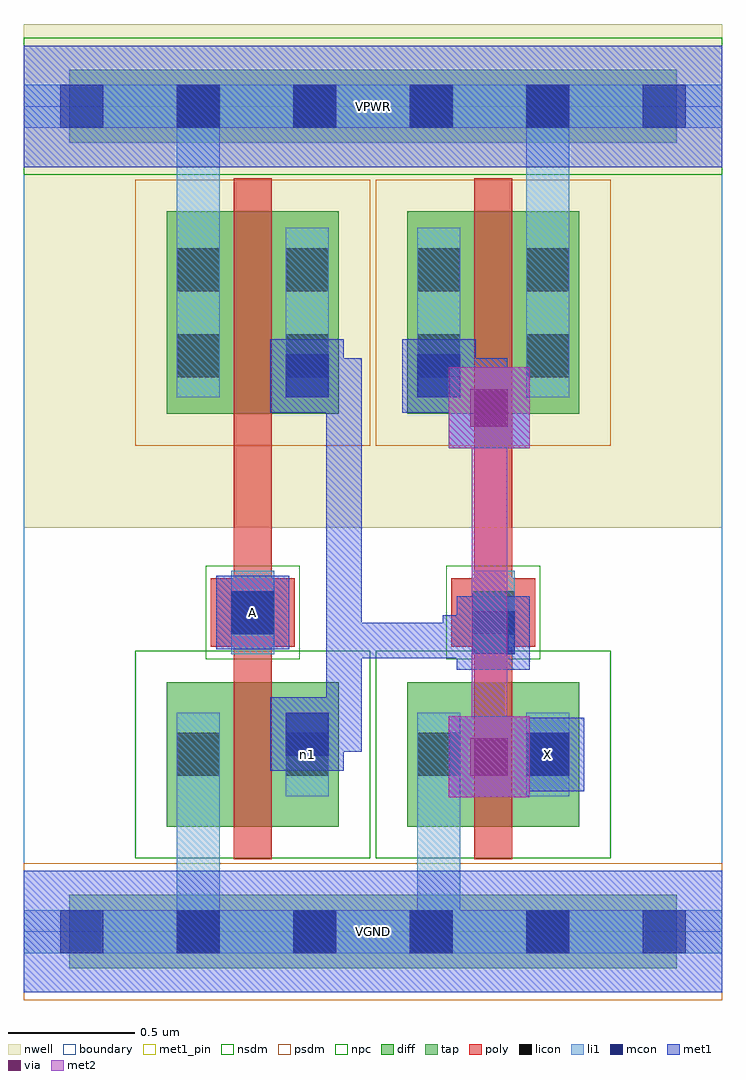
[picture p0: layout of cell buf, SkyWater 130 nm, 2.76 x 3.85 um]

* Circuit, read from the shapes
.subckt buf A VGND VPWR X n1
XM1 n1 A VGND VGND sky130_fd_pr__nfet_01v8 w=0.57 l=0.15
XM2 X n1 VGND VGND sky130_fd_pr__nfet_01v8 w=0.57 l=0.15
XM3 n1 A VPWR VPWR sky130_fd_pr__pfet_01v8 w=0.8 l=0.15
XM4 VPWR n1 X VPWR sky130_fd_pr__pfet_01v8 w=0.8 l=0.15
.ends

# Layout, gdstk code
import gdstk
lib = gdstk.Library(unit=1e-6, precision=1e-09)
def R(c, l, rs):  # rectangles x0, y0, x1, y1
    for r in rs: c.add(gdstk.rectangle(r[:2], r[2:], *l))
def A(c, l, x, y, w, h, nx, ny, dx, dy):  # array of equal rectangles
    R(c, l, [(x+i*dx, y+j*dy, x+i*dx+w, y+j*dy+h) for i in range(nx) for j in range(ny)])
nwell = (64, 20)
diff = (65, 20)
tap = (65, 44)
poly = (66, 20)
licon = (66, 44)
li1 = (67, 20)
mcon = (67, 44)
met1_pin = (68, 16)
met1 = (68, 20)
via = (68, 44)
met2 = (69, 20)
nsdm = (93, 44)
psdm = (94, 20)
npc = (95, 20)
boundary = (235, 4)

buf = lib.new_cell('buf')
R(buf, nwell, [(0,1.595,2.76,3.585)])
R(buf, diff, [(0.565,0.415,1.245,0.985), (1.515,0.415,2.195,0.985), (0.565,2.045,1.245,2.845), (1.515,2.045,2.195,2.845)])
R(buf, tap, [(0.18,-0.145,2.58,0.145), (0.18,3.115,2.58,3.405)])
R(buf, poly, [(0.83,0.285,0.98,2.975), (1.78,0.285,1.93,2.975), (0.74,1.125,1.07,1.395), (1.69,1.125,2.02,1.395)])
A(buf, licon, 0.605, -0.085, 0.17, 0.17, 4, 2, 0.46, 3.26)
R(buf, licon, [(0.605,0.615,0.775,0.785), (1.035,0.615,1.205,0.785), (1.555,0.615,1.725,0.785), (1.985,0.615,2.155,0.785), (0.82,1.175,0.99,1.345), (1.77,1.175,1.94,1.345), (0.605,2.19,0.775,2.36), (1.035,2.19,1.205,2.36), (1.555,2.19,1.725,2.36), (1.985,2.19,2.155,2.36), (0.605,2.53,0.775,2.7), (1.035,2.53,1.205,2.7), (1.555,2.53,1.725,2.7), (1.985,2.53,2.155,2.7)])
R(buf, li1, [(0,-0.085,2.76,0.085), (0.605,-0.085,0.775,0.865), (1.555,-0.085,1.725,0.865), (0.605,0.535,0.775,0.865), (1.035,0.535,1.205,0.865), (1.555,0.535,1.725,0.865), (1.985,0.535,2.155,0.865), (0.82,1.095,0.99,1.425), (1.77,1.095,1.94,1.425), (0.605,2.11,0.775,2.78), (0.605,2.11,0.775,3.345), (1.035,2.11,1.205,2.78), (1.555,2.11,1.725,2.78), (1.985,2.11,2.155,2.78), (1.985,2.11,2.155,3.345), (0,3.175,2.76,3.345)])
A(buf, mcon, 0.145, -0.085, 0.17, 0.17, 6, 2, 0.46, 3.26)
R(buf, mcon, [(1.985,0.615,2.155,0.785), (1.035,0.695,1.205,0.865), (1.77,1.095,1.94,1.265), (0.82,1.175,0.99,1.345), (1.035,2.11,1.205,2.28), (1.555,2.11,1.725,2.28)])
R(buf, met1_pin, [(0,-0.24,2.76,0.24), (1.925,0.555,2.215,0.845), (0.76,1.115,1.05,1.405), (0,3.02,2.76,3.5)])
R(buf, met1, [(0,-0.24,2.76,0.24), (1.68,0.53,2,0.85), (1.925,0.555,2.215,0.845), (1.77,0.62,2.14,0.76), (2,0.62,2.14,0.76), (0.975,0.635,1.265,0.925), (1.05,0.71,1.335,0.85), (1.195,0.71,1.335,0.99), (1.195,0.85,1.335,1.22), (1.71,1.035,2,1.325), (1.195,1.08,1.795,1.22), (1.195,1.08,1.335,2.14), (1.655,1.08,1.795,1.25), (1.655,1.11,1.925,1.25), (0.76,1.115,1.05,1.405), (1.68,1.91,2,2.23), (1.195,2,1.335,2.265), (1.77,2,1.91,2.265), (0.975,2.05,1.265,2.34), (1.495,2.05,1.785,2.34), (1.05,2.125,1.335,2.265), (1.57,2.125,1.91,2.265), (0,3.02,2.76,3.5)])
R(buf, via, [(1.765,0.615,1.915,0.765), (1.765,1.995,1.915,2.145)])
R(buf, met2, [(1.68,0.53,2,0.85), (1.77,0.62,1.91,2.14), (1.68,1.91,2,2.23)])
R(buf, nsdm, [(0.44,0.29,1.37,1.11), (1.39,0.29,2.32,1.11), (0,2.99,2.76,3.53)])
R(buf, psdm, [(0,-0.27,2.76,0.27), (0.44,1.92,1.37,2.97), (1.39,1.92,2.32,2.97)])
R(buf, npc, [(0.72,1.075,1.09,1.445), (1.67,1.075,2.04,1.445)])
R(buf, boundary, [(0,0,2.76,3.26)])
buf.add(gdstk.Label('n1', (1.12,0.7), layer=67, texttype=5))
buf.add(gdstk.Label('A', (0.905,1.26), layer=68, texttype=5))
buf.add(gdstk.Label('X', (2.07,0.7), layer=68, texttype=5))
buf.add(gdstk.Label('VPWR', (1.38,3.26), layer=68, texttype=5))
buf.add(gdstk.Label('VGND', (1.38,0), layer=68, texttype=5))
buf.add(gdstk.Label('A', (0.905,1.26), layer=68, texttype=16))
buf.add(gdstk.Label('X', (2.07,0.7), layer=68, texttype=16))
buf.add(gdstk.Label('VPWR', (1.38,3.26), layer=68, texttype=16))
buf.add(gdstk.Label('VGND', (1.38,0), layer=68, texttype=16))

lib.write_gds('buf.gds')
